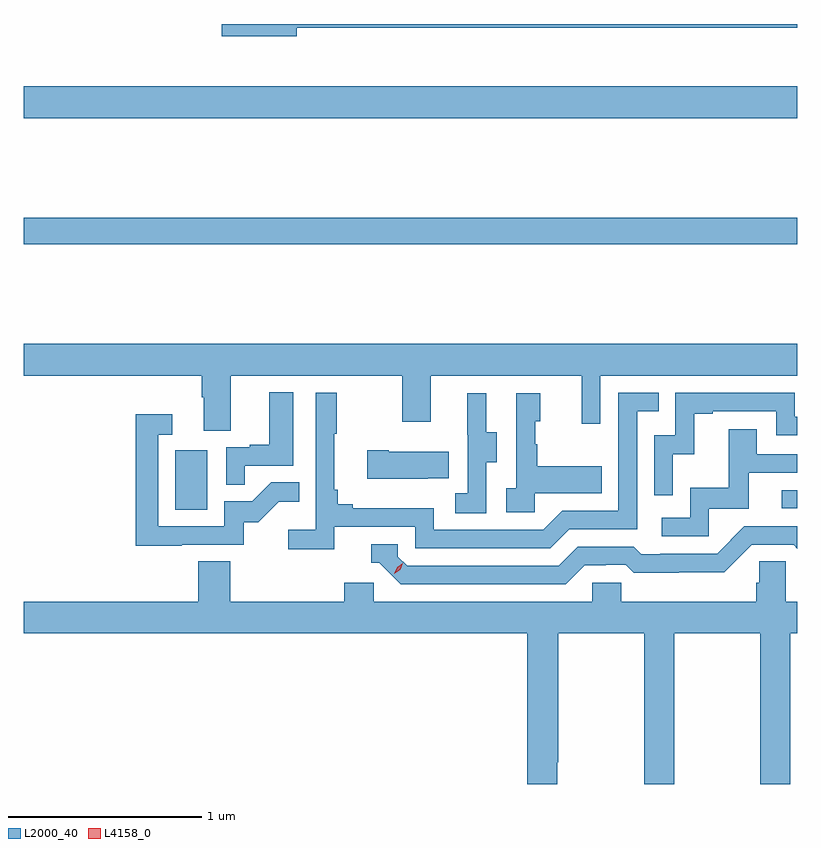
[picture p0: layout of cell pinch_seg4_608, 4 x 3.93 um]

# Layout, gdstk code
import gdstk
lib = gdstk.Library(unit=1e-6, precision=1e-09)
def R(c, l, rs):  # rectangles x0, y0, x1, y1
    for r in rs: c.add(gdstk.rectangle(r[:2], r[2:], *l))
def P(c, l, *ps):  # polygons
    for p in ps: c.add(gdstk.Polygon(p, *l))
L2000_40 = (2000, 40)
L4158_0 = (4158, 0)

pinch_seg4_608 = lib.new_cell('pinch_seg4_608')
R(pinch_seg4_608, L2000_40, [(1022.24,778.812,1022.404,779.119), (1025.373,778.818,1025.455,778.911), (1021.455,780.184,1025.455,780.32), (1021.455,780.836,1025.455,781)])
P(pinch_seg4_608, L2000_40, [(1022.866,781.302),(1025.455,781.302),(1025.455,781.322),(1022.478,781.322),(1022.478,781.259),(1022.866,781.259)],
  [(1022.527,779.504),(1023.412,779.504),(1023.412,779.265),(1023.559,779.265),(1023.559,779.504),(1024.34,779.504),(1024.34,779.256),(1024.437,779.256),(1024.437,779.504),(1025.455,779.504),(1025.455,779.668),(1021.455,779.668),(1021.455,779.504),(1022.375,779.504),(1022.375,779.392),(1022.387,779.392),(1022.387,779.218),(1022.527,779.218)],
  [(1022.597,779.037),(1022.848,779.037),(1022.848,779.419),(1022.726,779.419),(1022.726,779.146),(1022.623,779.146),(1022.623,779.133),(1022.502,779.133),(1022.502,778.939),(1022.597,778.939)],
  [(1023.062,778.722),(1023.48,778.722),(1023.48,778.611),(1024.177,778.611),(1024.276,778.71),(1024.626,778.71),(1024.626,779.319),(1024.739,779.319),(1024.739,779.415),(1024.53,779.415),(1024.53,778.806),(1024.239,778.806),(1024.14,778.707),(1023.576,778.707),(1023.576,778.819),(1023.157,778.819),(1023.157,778.838),(1023.08,778.838),(1023.08,778.915),(1023.061,778.915),(1023.061,779.203),(1023.073,779.203),(1023.073,779.416),(1022.964,779.416),(1022.964,778.708),(1022.823,778.708),(1022.823,778.606),(1023.062,778.606)],
  [(1024.812,779.099),(1024.922,779.099),(1024.922,779.307),(1025.017,779.307),(1025.017,779.319),(1025.346,779.319),(1025.346,779.196),(1025.455,779.196),(1025.455,779.292),(1025.442,779.292),(1025.442,779.415),(1024.824,779.415),(1024.824,779.196),(1024.716,779.196),(1024.716,778.887),(1024.812,778.887)],
  [(1024.098,778.895),(1024.445,778.895),(1024.445,779.035),(1024.111,779.035),(1024.111,779.15),(1024.101,779.15),(1024.101,779.268),(1024.126,779.268),(1024.126,779.413),(1024.002,779.413),(1024.002,778.922),(1023.951,778.922),(1023.951,778.797),(1024.098,778.797)],
  [(1023.846,779.056),(1023.901,779.056),(1023.901,779.211),(1023.847,779.211),(1023.847,779.413),(1023.749,779.413),(1023.749,779.199),(1023.75,779.199),(1023.75,778.895),(1023.687,778.895),(1023.687,778.792),(1023.846,778.792)],
  [(1022.273,778.629),(1022.592,778.629),(1022.592,778.746),(1022.668,778.746),(1022.775,778.853),(1022.879,778.853),(1022.879,778.952),(1022.736,778.952),(1022.638,778.854),(1022.493,778.854),(1022.493,778.725),(1022.151,778.725),(1022.151,779.199),(1022.224,779.199),(1022.224,779.305),(1022.035,779.305),(1022.035,778.624),(1022.273,778.624)],
  [(1024.998,778.815),(1025.203,778.815),(1025.203,779.001),(1025.455,779.001),(1025.455,779.097),(1025.245,779.097),(1025.245,779.227),(1025.101,779.227),(1025.101,778.924),(1024.902,778.924),(1024.902,778.77),(1024.755,778.77),(1024.755,778.674),(1024.998,778.674)],
  [(1023.545,778.973),(1023.653,778.973),(1023.653,779.11),(1023.343,779.11),(1023.343,779.118),(1023.231,779.118),(1023.231,778.97),(1023.545,778.97)],
  [(1024.357,778.524),(1024.464,778.524),(1024.464,778.527),(1024.567,778.527),(1024.609,778.485),(1024.842,778.485),(1024.842,778.487),(1025.078,778.487),(1025.22,778.629),(1025.436,778.629),(1025.455,778.61),(1025.455,778.725),(1025.181,778.725),(1025.04,778.584),(1024.747,778.584),(1024.747,778.581),(1024.648,778.581),(1024.609,778.62),(1024.32,778.62),(1024.221,778.521),(1023.438,778.521),(1023.39,778.569),(1023.39,778.632),(1023.251,778.632),(1023.251,778.536),(1023.294,778.536),(1023.405,778.425),(1024.258,778.425)],
  [(1024.213,777.505),(1024.218,777.505),(1024.218,778.172),(1024.663,778.172),(1024.663,777.393),(1024.818,777.393),(1024.818,778.172),(1025.263,778.172),(1025.263,777.393),(1025.418,777.393),(1025.418,778.172),(1025.455,778.172),(1025.455,778.336),(1025.394,778.336),(1025.394,778.544),(1025.257,778.544),(1025.257,778.434),(1025.243,778.434),(1025.243,778.336),(1024.545,778.336),(1024.545,778.434),(1024.395,778.434),(1024.395,778.336),(1023.264,778.336),(1023.264,778.434),(1023.113,778.434),(1023.113,778.336),(1022.522,778.336),(1022.522,778.544),(1022.357,778.544),(1022.357,778.336),(1021.455,778.336),(1021.455,778.172),(1024.058,778.172),(1024.058,777.393),(1024.213,777.393)])
P(pinch_seg4_608, L4158_0, [(1023.37,778.48),(1023.37,778.48),(1023.386,778.513),(1023.416,778.533),(1023.416,778.533),(1023.416,778.533),(1023.401,778.5),(1023.37,778.48)])

lib.write_gds('pinch_seg4_608.gds')
